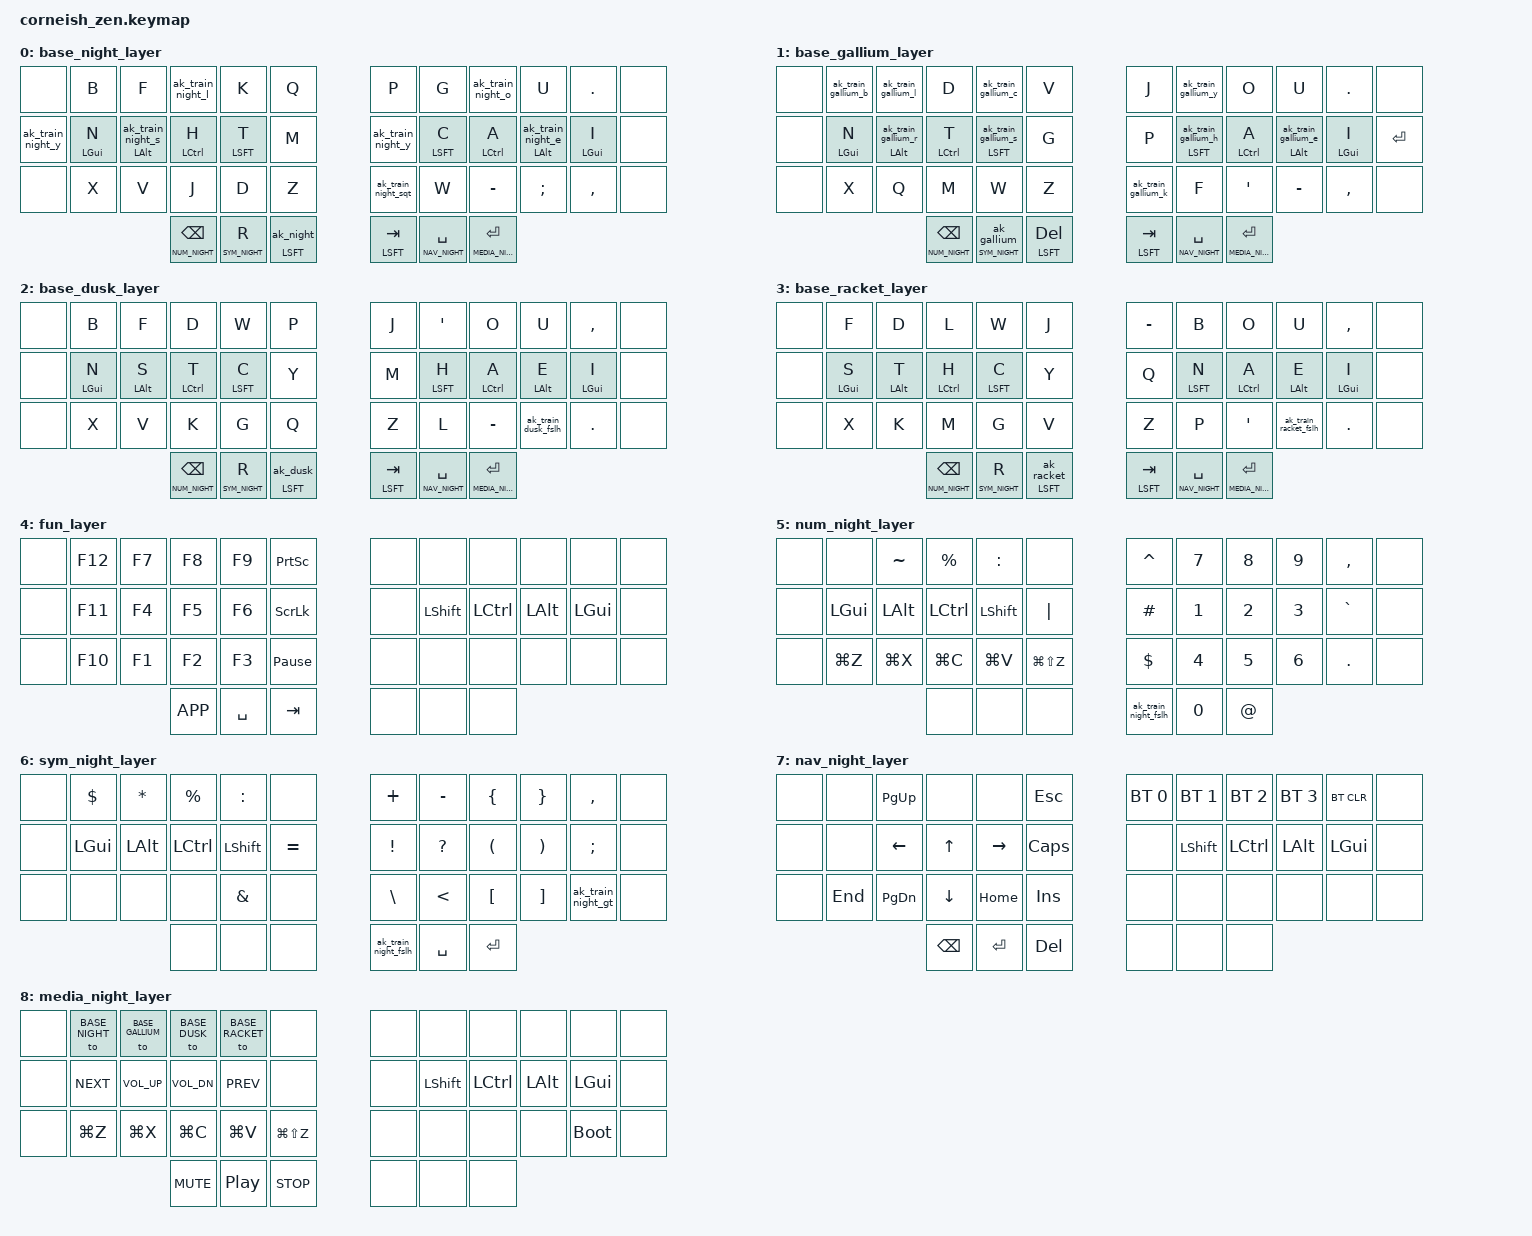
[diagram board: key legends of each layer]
// AUTO-GENERATED - DO NOT EDIT
// Generated from config/keymap.yaml
// Board: Corneish-Zen
// Shield/Board: corneish_zen

#include <behaviors.dtsi>
#include <dt-bindings/zmk/keys.h>
#include <dt-bindings/zmk/bt.h>
#include "dario_behaviors.dtsi"

#define BASE_NIGHT 0
#define BASE_GALLIUM 1
#define BASE_DUSK 2
#define BASE_RACKET 3
#define FUN 4
#define NUM_NIGHT 5
#define SYM_NIGHT 6
#define NAV_NIGHT 7
#define MEDIA_NIGHT 8

/ {

    combos {
        compatible = "zmk,combos";

        combo_dfu_left {
            timeout-ms = <100>;
            key-positions = <1 5 29>;
            bindings = <&bootloader>;
            layers = <0 1 2 3>;
            require-prior-idle-ms = <150>;
        };

        combo_dfu_right {
            timeout-ms = <100>;
            key-positions = <6 10 30>;
            bindings = <&bootloader>;
            layers = <0 1 2 3>;
            require-prior-idle-ms = <150>;
        };

        combo_github_url {
            timeout-ms = <100>;
            key-positions = <7 8 9 10>;
            bindings = <&github_url>;
            layers = <0 1 2 3>;
        };
    };

    macros {
        magic_night_chr_32: magic_night_chr_32_macro {
            compatible = "zmk,behavior-macro";
            label = "MAGIC_NIGHT_CHR_32";
            #binding-cells = <0>;
            bindings
                = <&macro_wait_time 10>
                , <&macro_tap_time 10>
                , <&macro_tap &kp T &kp H &kp E>
                ;
        };
        magic_night_chr_44: magic_night_chr_44_macro {
            compatible = "zmk,behavior-macro";
            label = "MAGIC_NIGHT_CHR_44";
            #binding-cells = <0>;
            bindings
                = <&macro_wait_time 10>
                , <&macro_tap_time 10>
                , <&macro_tap &kp SPACE &kp B &kp U &kp T>
                ;
        };
        magic_night_b: magic_night_b_macro {
            compatible = "zmk,behavior-macro";
            label = "MAGIC_NIGHT_B";
            #binding-cells = <0>;
            bindings
                = <&macro_wait_time 10>
                , <&macro_tap_time 10>
                , <&macro_tap &kp E &kp F &kp O &kp R &kp E>
                ;
        };
        magic_night_i: magic_night_i_macro {
            compatible = "zmk,behavior-macro";
            label = "MAGIC_NIGHT_I";
            #binding-cells = <0>;
            bindings
                = <&macro_wait_time 10>
                , <&macro_tap_time 10>
                , <&macro_tap &kp O &kp N>
                ;
        };
        magic_night_j: magic_night_j_macro {
            compatible = "zmk,behavior-macro";
            label = "MAGIC_NIGHT_J";
            #binding-cells = <0>;
            bindings
                = <&macro_wait_time 10>
                , <&macro_tap_time 10>
                , <&macro_tap &kp U &kp S &kp T>
                ;
        };
        magic_night_m: magic_night_m_macro {
            compatible = "zmk,behavior-macro";
            label = "MAGIC_NIGHT_M";
            #binding-cells = <0>;
            bindings
                = <&macro_wait_time 10>
                , <&macro_tap_time 10>
                , <&macro_tap &kp E &kp N &kp T>
                ;
        };
        magic_night_n: magic_night_n_macro {
            compatible = "zmk,behavior-macro";
            label = "MAGIC_NIGHT_N";
            #binding-cells = <0>;
            bindings
                = <&macro_wait_time 10>
                , <&macro_tap_time 10>
                , <&macro_tap &kp I &kp O &kp N>
                ;
        };
        magic_night_q: magic_night_q_macro {
            compatible = "zmk,behavior-macro";
            label = "MAGIC_NIGHT_Q";
            #binding-cells = <0>;
            bindings
                = <&macro_wait_time 10>
                , <&macro_tap_time 10>
                , <&macro_tap &kp U &kp E>
                ;
        };
        magic_night_t: magic_night_t_macro {
            compatible = "zmk,behavior-macro";
            label = "MAGIC_NIGHT_T";
            #binding-cells = <0>;
            bindings
                = <&macro_wait_time 10>
                , <&macro_tap_time 10>
                , <&macro_tap &kp I &kp O &kp N>
                ;
        };
        magic_night_w: magic_night_w_macro {
            compatible = "zmk,behavior-macro";
            label = "MAGIC_NIGHT_W";
            #binding-cells = <0>;
            bindings
                = <&macro_wait_time 10>
                , <&macro_tap_time 10>
                , <&macro_tap &kp H &kp I &kp C &kp H>
                ;
        };
        magic_dusk_chr_32: magic_dusk_chr_32_macro {
            compatible = "zmk,behavior-macro";
            label = "MAGIC_DUSK_CHR_32";
            #binding-cells = <0>;
            bindings
                = <&macro_wait_time 10>
                , <&macro_tap_time 10>
                , <&macro_tap &kp T &kp H &kp E>
                ;
        };
        magic_dusk_chr_44: magic_dusk_chr_44_macro {
            compatible = "zmk,behavior-macro";
            label = "MAGIC_DUSK_CHR_44";
            #binding-cells = <0>;
            bindings
                = <&macro_wait_time 10>
                , <&macro_tap_time 10>
                , <&macro_tap &kp SPACE &kp B &kp U &kp T>
                ;
        };
        magic_racket_chr_32: magic_racket_chr_32_macro {
            compatible = "zmk,behavior-macro";
            label = "MAGIC_RACKET_CHR_32";
            #binding-cells = <0>;
            bindings
                = <&macro_wait_time 10>
                , <&macro_tap_time 10>
                , <&macro_tap &kp T &kp H &kp E>
                ;
        };
        magic_racket_chr_44: magic_racket_chr_44_macro {
            compatible = "zmk,behavior-macro";
            label = "MAGIC_RACKET_CHR_44";
            #binding-cells = <0>;
            bindings
                = <&macro_wait_time 10>
                , <&macro_tap_time 10>
                , <&macro_tap &kp SPACE &kp B &kp U &kp T>
                ;
        };
    };

    // Magic key behaviors (adaptive key)
    // Each base layer has its own adaptive key with layer-specific mappings
    behaviors {
        // Adaptive key for BASE_GALLIUM family
        ak_gallium: ak_gallium {
            compatible = "zmk,behavior-adaptive-key";
            #binding-cells = <0>;
            bindings = <&key_repeat>;

            dot_trigger {
                trigger-keys = <DOT>;
                bindings = <&kp FSLH>;
            };
            a_trigger {
                trigger-keys = <A>;
                bindings = <&kp Y>;
            };
            b_trigger {
                trigger-keys = <B>;
                bindings = <&kp R>;
            };
            c_trigger {
                trigger-keys = <C>;
                bindings = <&kp S>;
            };
            e_trigger {
                trigger-keys = <E>;
                bindings = <&kp Y>;
            };
            g_trigger {
                trigger-keys = <G>;
                bindings = <&kp S>;
            };
            m_trigger {
                trigger-keys = <M>;
                bindings = <&kp B>;
            };
            o_trigger {
                trigger-keys = <O>;
                bindings = <&kp K>;
            };
            p_trigger {
                trigger-keys = <P>;
                bindings = <&kp H>;
            };
            r_trigger {
                trigger-keys = <R>;
                bindings = <&kp L>;
            };
            s_trigger {
                trigger-keys = <S>;
                bindings = <&kp C>;
            };
            u_trigger {
                trigger-keys = <U>;
                bindings = <&kp E>;
            };
            y_trigger {
                trigger-keys = <Y>;
                bindings = <&kp E>;
            };
        };

        lt_ak_gallium: lt_ak_gallium {
            compatible = "zmk,behavior-hold-tap";
            label = "LT_AK_GALLIUM";
            #binding-cells = <2>;
            flavor = "balanced";
            tapping-term-ms = <200>;
            quick-tap-ms = <200>;
            bindings = <&mo>, <&ak_gallium>;
        };

        mt_ak_gallium: mt_ak_gallium {
            compatible = "zmk,behavior-hold-tap";
            label = "MT_AK_GALLIUM";
            #binding-cells = <2>;
            flavor = "balanced";
            tapping-term-ms = <200>;
            quick-tap-ms = <200>;
            bindings = <&kp>, <&ak_gallium>;
        };

        // Adaptive key for BASE_NIGHT family
        ak_night: ak_night {
            compatible = "zmk,behavior-adaptive-key";
            #binding-cells = <0>;
            bindings = <&key_repeat>;

            space_trigger {
                trigger-keys = <SPACE>;
                bindings = <&magic_night_chr_32>;
            };
            comma_trigger {
                trigger-keys = <COMMA>;
                bindings = <&magic_night_chr_44>;
            };
            minus_trigger {
                trigger-keys = <MINUS>;
                bindings = <&kp GT>;
            };
            dot_trigger {
                trigger-keys = <DOT>;
                bindings = <&kp FSLH>;
            };
            a_trigger {
                trigger-keys = <A>;
                bindings = <&kp O>;
            };
            b_trigger {
                trigger-keys = <B>;
                bindings = <&magic_night_b>;
            };
            c_trigger {
                trigger-keys = <C>;
                bindings = <&kp Y>;
            };
            g_trigger {
                trigger-keys = <G>;
                bindings = <&kp Y>;
            };
            h_trigger {
                trigger-keys = <H>;
                bindings = <&kp L>;
            };
            i_trigger {
                trigger-keys = <I>;
                bindings = <&magic_night_i>;
            };
            j_trigger {
                trigger-keys = <J>;
                bindings = <&magic_night_j>;
            };
            m_trigger {
                trigger-keys = <M>;
                bindings = <&magic_night_m>;
            };
            n_trigger {
                trigger-keys = <N>;
                bindings = <&magic_night_n>;
            };
            p_trigger {
                trigger-keys = <P>;
                bindings = <&kp Y>;
            };
            q_trigger {
                trigger-keys = <Q>;
                bindings = <&magic_night_q>;
            };
            t_trigger {
                trigger-keys = <T>;
                bindings = <&magic_night_t>;
            };
            u_trigger {
                trigger-keys = <U>;
                bindings = <&kp E>;
            };
            v_trigger {
                trigger-keys = <V>;
                bindings = <&kp S>;
            };
            w_trigger {
                trigger-keys = <W>;
                bindings = <&magic_night_w>;
            };
            y_trigger {
                trigger-keys = <Y>;
                bindings = <&kp SQT>;
            };
        };

        lt_ak_night: lt_ak_night {
            compatible = "zmk,behavior-hold-tap";
            label = "LT_AK_NIGHT";
            #binding-cells = <2>;
            flavor = "balanced";
            tapping-term-ms = <200>;
            quick-tap-ms = <200>;
            bindings = <&mo>, <&ak_night>;
        };

        mt_ak_night: mt_ak_night {
            compatible = "zmk,behavior-hold-tap";
            label = "MT_AK_NIGHT";
            #binding-cells = <2>;
            flavor = "balanced";
            tapping-term-ms = <200>;
            quick-tap-ms = <200>;
            bindings = <&kp>, <&ak_night>;
        };

        // Adaptive key for BASE_DUSK family
        ak_dusk: ak_dusk {
            compatible = "zmk,behavior-adaptive-key";
            #binding-cells = <0>;
            bindings = <&key_repeat>;

            space_trigger {
                trigger-keys = <SPACE>;
                bindings = <&magic_dusk_chr_32>;
            };
            comma_trigger {
                trigger-keys = <COMMA>;
                bindings = <&magic_dusk_chr_44>;
            };
            dot_trigger {
                trigger-keys = <DOT>;
                bindings = <&kp FSLH>;
            };
        };

        lt_ak_dusk: lt_ak_dusk {
            compatible = "zmk,behavior-hold-tap";
            label = "LT_AK_DUSK";
            #binding-cells = <2>;
            flavor = "balanced";
            tapping-term-ms = <200>;
            quick-tap-ms = <200>;
            bindings = <&mo>, <&ak_dusk>;
        };

        mt_ak_dusk: mt_ak_dusk {
            compatible = "zmk,behavior-hold-tap";
            label = "MT_AK_DUSK";
            #binding-cells = <2>;
            flavor = "balanced";
            tapping-term-ms = <200>;
            quick-tap-ms = <200>;
            bindings = <&kp>, <&ak_dusk>;
        };

        // Adaptive key for BASE_RACKET family
        ak_racket: ak_racket {
            compatible = "zmk,behavior-adaptive-key";
            #binding-cells = <0>;
            bindings = <&key_repeat>;

            dot_trigger {
                trigger-keys = <DOT>;
                bindings = <&kp FSLH>;
            };
            space_trigger {
                trigger-keys = <SPACE>;
                bindings = <&magic_racket_chr_32>;
            };
            comma_trigger {
                trigger-keys = <COMMA>;
                bindings = <&magic_racket_chr_44>;
            };
            minus_trigger {
                trigger-keys = <MINUS>;
                bindings = <&kp GT>;
            };
        };

        lt_ak_racket: lt_ak_racket {
            compatible = "zmk,behavior-hold-tap";
            label = "LT_AK_RACKET";
            #binding-cells = <2>;
            flavor = "balanced";
            tapping-term-ms = <200>;
            quick-tap-ms = <200>;
            bindings = <&mo>, <&ak_racket>;
        };

        mt_ak_racket: mt_ak_racket {
            compatible = "zmk,behavior-hold-tap";
            label = "MT_AK_RACKET";
            #binding-cells = <2>;
            flavor = "balanced";
            tapping-term-ms = <200>;
            quick-tap-ms = <200>;
            bindings = <&kp>, <&ak_racket>;
        };

    };

    // Magic training behaviors: punish direct bigrams with '#'
    behaviors {
        ak_train_gallium_fslh: ak_train_gallium_fslh {
            compatible = "zmk,behavior-adaptive-key";
            #binding-cells = <0>;
            bindings = <&kp FSLH>;
            guard_trigger {
                trigger-keys = <DOT>;
                bindings = <&kp HASH>;
            };
        };

        ak_train_gallium_y: ak_train_gallium_y {
            compatible = "zmk,behavior-adaptive-key";
            #binding-cells = <0>;
            bindings = <&kp Y>;
            guard_trigger {
                trigger-keys = <A E>;
                bindings = <&kp HASH>;
            };
        };

        ak_train_gallium_r: ak_train_gallium_r {
            compatible = "zmk,behavior-adaptive-key";
            #binding-cells = <0>;
            bindings = <&kp R>;
            guard_trigger {
                trigger-keys = <B>;
                bindings = <&kp HASH>;
            };
        };

        ak_train_gallium_s: ak_train_gallium_s {
            compatible = "zmk,behavior-adaptive-key";
            #binding-cells = <0>;
            bindings = <&kp S>;
            guard_trigger {
                trigger-keys = <C G>;
                bindings = <&kp HASH>;
            };
        };

        ak_train_gallium_b: ak_train_gallium_b {
            compatible = "zmk,behavior-adaptive-key";
            #binding-cells = <0>;
            bindings = <&kp B>;
            guard_trigger {
                trigger-keys = <M>;
                bindings = <&kp HASH>;
            };
        };

        ak_train_gallium_k: ak_train_gallium_k {
            compatible = "zmk,behavior-adaptive-key";
            #binding-cells = <0>;
            bindings = <&kp K>;
            guard_trigger {
                trigger-keys = <O>;
                bindings = <&kp HASH>;
            };
        };

        ak_train_gallium_h: ak_train_gallium_h {
            compatible = "zmk,behavior-adaptive-key";
            #binding-cells = <0>;
            bindings = <&kp H>;
            guard_trigger {
                trigger-keys = <P>;
                bindings = <&kp HASH>;
            };
        };

        ak_train_gallium_l: ak_train_gallium_l {
            compatible = "zmk,behavior-adaptive-key";
            #binding-cells = <0>;
            bindings = <&kp L>;
            guard_trigger {
                trigger-keys = <R>;
                bindings = <&kp HASH>;
            };
        };

        ak_train_gallium_c: ak_train_gallium_c {
            compatible = "zmk,behavior-adaptive-key";
            #binding-cells = <0>;
            bindings = <&kp C>;
            guard_trigger {
                trigger-keys = <S>;
                bindings = <&kp HASH>;
            };
        };

        ak_train_gallium_e: ak_train_gallium_e {
            compatible = "zmk,behavior-adaptive-key";
            #binding-cells = <0>;
            bindings = <&kp E>;
            guard_trigger {
                trigger-keys = <U Y>;
                bindings = <&kp HASH>;
            };
        };

        ak_train_night_magic_night_chr_32: ak_train_night_magic_night_chr_32 {
            compatible = "zmk,behavior-adaptive-key";
            #binding-cells = <0>;
            bindings = <&magic_night_chr_32>;
            guard_trigger {
                trigger-keys = <SPACE>;
                bindings = <&kp HASH>;
            };
        };

        ak_train_night_magic_night_chr_44: ak_train_night_magic_night_chr_44 {
            compatible = "zmk,behavior-adaptive-key";
            #binding-cells = <0>;
            bindings = <&magic_night_chr_44>;
            guard_trigger {
                trigger-keys = <COMMA>;
                bindings = <&kp HASH>;
            };
        };

        ak_train_night_gt: ak_train_night_gt {
            compatible = "zmk,behavior-adaptive-key";
            #binding-cells = <0>;
            bindings = <&kp GT>;
            guard_trigger {
                trigger-keys = <MINUS>;
                bindings = <&kp HASH>;
            };
        };

        ak_train_night_fslh: ak_train_night_fslh {
            compatible = "zmk,behavior-adaptive-key";
            #binding-cells = <0>;
            bindings = <&kp FSLH>;
            guard_trigger {
                trigger-keys = <DOT>;
                bindings = <&kp HASH>;
            };
        };

        ak_train_night_o: ak_train_night_o {
            compatible = "zmk,behavior-adaptive-key";
            #binding-cells = <0>;
            bindings = <&kp O>;
            guard_trigger {
                trigger-keys = <A>;
                bindings = <&kp HASH>;
            };
        };

        ak_train_night_magic_night_b: ak_train_night_magic_night_b {
            compatible = "zmk,behavior-adaptive-key";
            #binding-cells = <0>;
            bindings = <&magic_night_b>;
            guard_trigger {
                trigger-keys = <B>;
                bindings = <&kp HASH>;
            };
        };

        ak_train_night_y: ak_train_night_y {
            compatible = "zmk,behavior-adaptive-key";
            #binding-cells = <0>;
            bindings = <&kp Y>;
            guard_trigger {
                trigger-keys = <C G P>;
                bindings = <&kp HASH>;
            };
        };

        ak_train_night_l: ak_train_night_l {
            compatible = "zmk,behavior-adaptive-key";
            #binding-cells = <0>;
            bindings = <&kp L>;
            guard_trigger {
                trigger-keys = <H>;
                bindings = <&kp HASH>;
            };
        };

        ak_train_night_magic_night_i: ak_train_night_magic_night_i {
            compatible = "zmk,behavior-adaptive-key";
            #binding-cells = <0>;
            bindings = <&magic_night_i>;
            guard_trigger {
                trigger-keys = <I>;
                bindings = <&kp HASH>;
            };
        };

        ak_train_night_magic_night_j: ak_train_night_magic_night_j {
            compatible = "zmk,behavior-adaptive-key";
            #binding-cells = <0>;
            bindings = <&magic_night_j>;
            guard_trigger {
                trigger-keys = <J>;
                bindings = <&kp HASH>;
            };
        };

        ak_train_night_magic_night_m: ak_train_night_magic_night_m {
            compatible = "zmk,behavior-adaptive-key";
            #binding-cells = <0>;
            bindings = <&magic_night_m>;
            guard_trigger {
                trigger-keys = <M>;
                bindings = <&kp HASH>;
            };
        };

        ak_train_night_magic_night_n: ak_train_night_magic_night_n {
            compatible = "zmk,behavior-adaptive-key";
            #binding-cells = <0>;
            bindings = <&magic_night_n>;
            guard_trigger {
                trigger-keys = <N>;
                bindings = <&kp HASH>;
            };
        };

        ak_train_night_magic_night_q: ak_train_night_magic_night_q {
            compatible = "zmk,behavior-adaptive-key";
            #binding-cells = <0>;
            bindings = <&magic_night_q>;
            guard_trigger {
                trigger-keys = <Q>;
                bindings = <&kp HASH>;
            };
        };

        ak_train_night_magic_night_t: ak_train_night_magic_night_t {
            compatible = "zmk,behavior-adaptive-key";
            #binding-cells = <0>;
            bindings = <&magic_night_t>;
            guard_trigger {
                trigger-keys = <T>;
                bindings = <&kp HASH>;
            };
        };

        ak_train_night_e: ak_train_night_e {
            compatible = "zmk,behavior-adaptive-key";
            #binding-cells = <0>;
            bindings = <&kp E>;
            guard_trigger {
                trigger-keys = <U>;
                bindings = <&kp HASH>;
            };
        };

        ak_train_night_s: ak_train_night_s {
            compatible = "zmk,behavior-adaptive-key";
            #binding-cells = <0>;
            bindings = <&kp S>;
            guard_trigger {
                trigger-keys = <V>;
                bindings = <&kp HASH>;
            };
        };

        ak_train_night_magic_night_w: ak_train_night_magic_night_w {
            compatible = "zmk,behavior-adaptive-key";
            #binding-cells = <0>;
            bindings = <&magic_night_w>;
            guard_trigger {
                trigger-keys = <W>;
                bindings = <&kp HASH>;
            };
        };

        ak_train_night_sqt: ak_train_night_sqt {
            compatible = "zmk,behavior-adaptive-key";
            #binding-cells = <0>;
            bindings = <&kp SQT>;
            guard_trigger {
                trigger-keys = <Y>;
                bindings = <&kp HASH>;
            };
        };

        ak_train_dusk_magic_dusk_chr_32: ak_train_dusk_magic_dusk_chr_32 {
            compatible = "zmk,behavior-adaptive-key";
            #binding-cells = <0>;
            bindings = <&magic_dusk_chr_32>;
            guard_trigger {
                trigger-keys = <SPACE>;
                bindings = <&kp HASH>;
            };
        };

        ak_train_dusk_magic_dusk_chr_44: ak_train_dusk_magic_dusk_chr_44 {
            compatible = "zmk,behavior-adaptive-key";
            #binding-cells = <0>;
            bindings = <&magic_dusk_chr_44>;
            guard_trigger {
                trigger-keys = <COMMA>;
                bindings = <&kp HASH>;
            };
        };

        ak_train_dusk_fslh: ak_train_dusk_fslh {
            compatible = "zmk,behavior-adaptive-key";
            #binding-cells = <0>;
            bindings = <&kp FSLH>;
            guard_trigger {
                trigger-keys = <DOT>;
                bindings = <&kp HASH>;
            };
        };

        ak_train_racket_fslh: ak_train_racket_fslh {
            compatible = "zmk,behavior-adaptive-key";
            #binding-cells = <0>;
            bindings = <&kp FSLH>;
            guard_trigger {
                trigger-keys = <DOT>;
                bindings = <&kp HASH>;
            };
        };

        ak_train_racket_magic_racket_chr_32: ak_train_racket_magic_racket_chr_32 {
            compatible = "zmk,behavior-adaptive-key";
            #binding-cells = <0>;
            bindings = <&magic_racket_chr_32>;
            guard_trigger {
                trigger-keys = <SPACE>;
                bindings = <&kp HASH>;
            };
        };

        ak_train_racket_magic_racket_chr_44: ak_train_racket_magic_racket_chr_44 {
            compatible = "zmk,behavior-adaptive-key";
            #binding-cells = <0>;
            bindings = <&magic_racket_chr_44>;
            guard_trigger {
                trigger-keys = <COMMA>;
                bindings = <&kp HASH>;
            };
        };

        ak_train_racket_gt: ak_train_racket_gt {
            compatible = "zmk,behavior-adaptive-key";
            #binding-cells = <0>;
            bindings = <&kp GT>;
            guard_trigger {
                trigger-keys = <MINUS>;
                bindings = <&kp HASH>;
            };
        };

        hml_train_night_s: hml_train_night_s {
            compatible = "zmk,behavior-hold-tap";
            label = "HML_TRAIN_NIGHT_S";
            #binding-cells = <2>;
            flavor = "balanced";
            require-prior-idle-ms = <150>;
            tapping-term-ms = <280>;
            quick-tap-ms = <175>;
            bindings = <&kp>, <&ak_train_night_s>;
            hold-trigger-key-positions = <6 7 8 9 10 11 18 19 20 21 22 23 30 31 32 33 34 35 39 40 41>;  // right hand + thumbs
            hold-trigger-on-release;
        };

        hmr_train_night_e: hmr_train_night_e {
            compatible = "zmk,behavior-hold-tap";
            label = "HMR_TRAIN_NIGHT_E";
            #binding-cells = <2>;
            flavor = "balanced";
            require-prior-idle-ms = <150>;
            tapping-term-ms = <280>;
            quick-tap-ms = <175>;
            bindings = <&kp>, <&ak_train_night_e>;
            hold-trigger-key-positions = <0 1 2 3 4 5 12 13 14 15 16 17 24 25 26 27 28 29 36 37 38>;  // left hand + thumbs
            hold-trigger-on-release;
        };

        hml_train_gallium_r: hml_train_gallium_r {
            compatible = "zmk,behavior-hold-tap";
            label = "HML_TRAIN_GALLIUM_R";
            #binding-cells = <2>;
            flavor = "balanced";
            require-prior-idle-ms = <150>;
            tapping-term-ms = <280>;
            quick-tap-ms = <175>;
            bindings = <&kp>, <&ak_train_gallium_r>;
            hold-trigger-key-positions = <6 7 8 9 10 11 18 19 20 21 22 23 30 31 32 33 34 35 39 40 41>;  // right hand + thumbs
            hold-trigger-on-release;
        };

        hml_train_gallium_s: hml_train_gallium_s {
            compatible = "zmk,behavior-hold-tap";
            label = "HML_TRAIN_GALLIUM_S";
            #binding-cells = <2>;
            flavor = "balanced";
            require-prior-idle-ms = <150>;
            tapping-term-ms = <280>;
            quick-tap-ms = <175>;
            bindings = <&kp>, <&ak_train_gallium_s>;
            hold-trigger-key-positions = <6 7 8 9 10 11 18 19 20 21 22 23 30 31 32 33 34 35 39 40 41>;  // right hand + thumbs
            hold-trigger-on-release;
        };

        hmr_train_gallium_h: hmr_train_gallium_h {
            compatible = "zmk,behavior-hold-tap";
            label = "HMR_TRAIN_GALLIUM_H";
            #binding-cells = <2>;
            flavor = "balanced";
            require-prior-idle-ms = <150>;
            tapping-term-ms = <280>;
            quick-tap-ms = <175>;
            bindings = <&kp>, <&ak_train_gallium_h>;
            hold-trigger-key-positions = <0 1 2 3 4 5 12 13 14 15 16 17 24 25 26 27 28 29 36 37 38>;  // left hand + thumbs
            hold-trigger-on-release;
        };

        hmr_train_gallium_e: hmr_train_gallium_e {
            compatible = "zmk,behavior-hold-tap";
            label = "HMR_TRAIN_GALLIUM_E";
            #binding-cells = <2>;
            flavor = "balanced";
            require-prior-idle-ms = <150>;
            tapping-term-ms = <280>;
            quick-tap-ms = <175>;
            bindings = <&kp>, <&ak_train_gallium_e>;
            hold-trigger-key-positions = <0 1 2 3 4 5 12 13 14 15 16 17 24 25 26 27 28 29 36 37 38>;  // left hand + thumbs
            hold-trigger-on-release;
        };

    };

    keymap {
        compatible = "zmk,keymap";

        base_night_layer {
            bindings = <
                &none &kp B &kp F &ak_train_night_l &kp K &kp Q &kp P &kp G &ak_train_night_o &kp U &kp DOT &none
                &ak_train_night_y &hml LGUI N &hml_train_night_s LALT 0 &hml LCTL H &hml LSFT T &kp M &ak_train_night_y &hmr LSFT C &hmr LCTL A &hmr_train_night_e LALT 0 &hmr LGUI I &none
                &none &kp X &kp V &kp J &kp D &kp Z &ak_train_night_sqt &kp W &kp MINUS &kp SEMI &kp COMMA &none
                &lt NUM_NIGHT BSPC &lt SYM_NIGHT R &mt_ak_night LSFT 0 &mt LSFT TAB &lt NAV_NIGHT SPACE &lt MEDIA_NIGHT ENTER
            >;
        };

        base_gallium_layer {
            bindings = <
                &none &ak_train_gallium_b &ak_train_gallium_l &kp D &ak_train_gallium_c &kp V &kp J &ak_train_gallium_y &kp O &kp U &kp DOT &none
                &none &hml LGUI N &hml_train_gallium_r LALT 0 &hml LCTL T &hml_train_gallium_s LSFT 0 &kp G &kp P &hmr_train_gallium_h LSFT 0 &hmr LCTL A &hmr_train_gallium_e LALT 0 &hmr LGUI I &kp ENTER
                &none &kp X &kp Q &kp M &kp W &kp Z &ak_train_gallium_k &kp F &kp SQT &kp MINUS &kp COMMA &none
                &lt NUM_NIGHT BSPC &lt_ak_gallium SYM_NIGHT 0 &mt LSFT DEL &mt LSFT TAB &lt NAV_NIGHT SPACE &lt MEDIA_NIGHT ENTER
            >;
        };

        base_dusk_layer {
            bindings = <
                &none &kp B &kp F &kp D &kp W &kp P &kp J &kp SQT &kp O &kp U &kp COMMA &none
                &none &hml LGUI N &hml LALT S &hml LCTL T &hml LSFT C &kp Y &kp M &hmr LSFT H &hmr LCTL A &hmr LALT E &hmr LGUI I &none
                &none &kp X &kp V &kp K &kp G &kp Q &kp Z &kp L &kp MINUS &ak_train_dusk_fslh &kp DOT &none
                &lt NUM_NIGHT BSPC &lt SYM_NIGHT R &mt_ak_dusk LSFT 0 &mt LSFT TAB &lt NAV_NIGHT SPACE &lt MEDIA_NIGHT ENTER
            >;
        };

        base_racket_layer {
            bindings = <
                &none &kp F &kp D &kp L &kp W &kp J &kp MINUS &kp B &kp O &kp U &kp COMMA &none
                &none &hml LGUI S &hml LALT T &hml LCTL H &hml LSFT C &kp Y &kp Q &hmr LSFT N &hmr LCTL A &hmr LALT E &hmr LGUI I &none
                &none &kp X &kp K &kp M &kp G &kp V &kp Z &kp P &kp SQT &ak_train_racket_fslh &kp DOT &none
                &lt NUM_NIGHT BSPC &lt SYM_NIGHT R &mt_ak_racket LSFT 0 &mt LSFT TAB &lt NAV_NIGHT SPACE &lt MEDIA_NIGHT ENTER
            >;
        };

        fun_layer {
            bindings = <
                &none &kp F12 &kp F7 &kp F8 &kp F9 &kp PRINTSCREEN &none &none &none &none &none &none
                &none &kp F11 &kp F4 &kp F5 &kp F6 &kp SCROLLLOCK &none &kp LSHFT &kp LCTRL &kp LALT &kp LGUI &none
                &none &kp F10 &kp F1 &kp F2 &kp F3 &kp PAUSE_BREAK &none &none &none &none &none &none
                &kp K_APP &kp SPACE &kp TAB &none &none &none
            >;
        };

        num_night_layer {
            bindings = <
                &none &none &kp TILDE &kp PERCENT &kp COLON &none &kp CARET &kp N7 &kp N8 &kp N9 &kp COMMA &none
                &none &kp LGUI &kp LALT &kp LCTRL &kp LSHFT &kp PIPE &kp HASH &kp N1 &kp N2 &kp N3 &kp GRAVE &none
                &none &kp LG(Z) &kp LG(X) &kp LG(C) &kp LG(V) &kp LG(LS(Z)) &kp DOLLAR &kp N4 &kp N5 &kp N6 &kp DOT &none
                &none &none &none &ak_train_night_fslh &kp N0 &kp AT
            >;
        };

        sym_night_layer {
            bindings = <
                &none &kp DOLLAR &kp ASTERISK &kp PERCENT &kp COLON &none &kp PLUS &kp MINUS &kp LBRC &kp RBRC &kp COMMA &none
                &none &kp LGUI &kp LALT &kp LCTRL &kp LSHFT &kp EQUAL &kp EXCL &kp QUESTION &kp LPAR &kp RPAR &kp SEMI &none
                &none &none &none &none &kp AMPERSAND &none &kp BSLH &kp LT &kp LBKT &kp RBKT &ak_train_night_gt &none
                &none &none &none &ak_train_night_fslh &kp SPACE &kp ENTER
            >;
        };

        nav_night_layer {
            bindings = <
                &none &none &kp PG_UP &none &none &kp ESC &bt BT_SEL 0 &bt BT_SEL 1 &bt BT_SEL 2 &bt BT_SEL 3 &bt BT_CLR &none
                &none &none &kp LEFT &kp UP &kp RIGHT &kp CAPS &none &kp LSHFT &kp LCTRL &kp LALT &kp LGUI &none
                &none &kp END &kp PG_DN &kp DOWN &kp HOME &kp INS &none &none &none &none &none &none
                &kp BSPC &kp ENTER &kp DEL &none &none &none
            >;
        };

        media_night_layer {
            bindings = <
                &none &to BASE_NIGHT &to BASE_GALLIUM &to BASE_DUSK &to BASE_RACKET &none &none &none &none &none &none &none
                &none &kp C_NEXT &kp C_VOL_UP &kp C_VOL_DN &kp C_PREV &none &none &kp LSHFT &kp LCTRL &kp LALT &kp LGUI &none
                &none &kp LG(Z) &kp LG(X) &kp LG(C) &kp LG(V) &kp LG(LS(Z)) &none &none &none &none &bootloader &none
                &kp C_MUTE &kp C_PLAY_PAUSE &kp C_STOP &none &none &none
            >;
        };
    };
};
